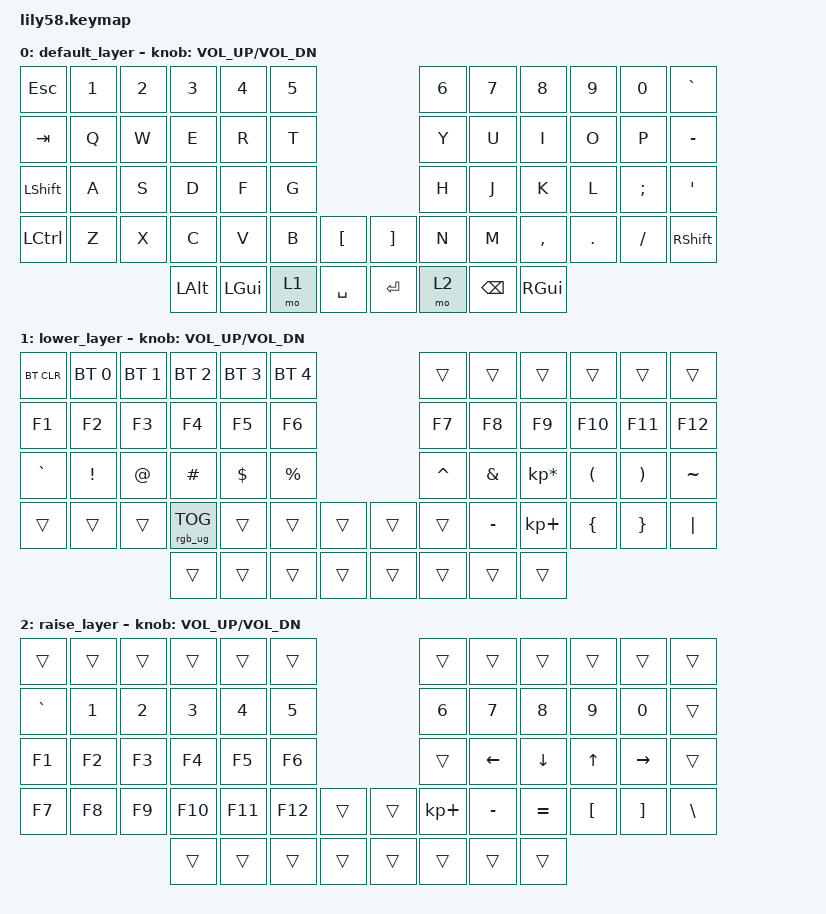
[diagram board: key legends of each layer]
/*
 * Copyright (c) 2020 The ZMK Contributors
 *
 * SPDX-License-Identifier: MIT
 */

#include <behaviors.dtsi>
#include <dt-bindings/zmk/keys.h>
#include <dt-bindings/zmk/bt.h>
#include <dt-bindings/zmk/ext_power.h>
#include <dt-bindings/zmk/rgb.h>

#include <dt-bindings/led/led.h>

#define SPI_FREQ    4000000
#define ZERO_FRAME  0x40
#define ONE_FRAME   0x70
#define STRIP_LEN   35

&pinctrl {
	spi3_default: spi3_default {
		group1 {
			psels = <NRF_PSEL(SPIM_MOSI, 0, 6)>;
		};
	};

	spi3_sleep: spi3_sleep {
		group1 {
			psels = <NRF_PSEL(SPIM_MOSI, 0, 6)>;
			low-power-enable;
		};
	};
};

&spi3 {
	compatible = "nordic,nrf-spim";
	status = "okay";

	pinctrl-0 = <&spi3_default>;
	pinctrl-1 = <&spi3_sleep>;
	pinctrl-names = "default", "sleep";

	led_strip: ws2812@0 {
		compatible = "worldsemi,ws2812-spi";
		label = "WS2812";

		/* SPI */
		reg = <0>; /* ignored, but necessary for SPI bindings */
		spi-max-frequency = <SPI_FREQ>;

		/* WS2812 */
		chain-length = <STRIP_LEN>;/* arbitrary; change at will */
		spi-one-frame = <ONE_FRAME>;
		spi-zero-frame = <ZERO_FRAME>;

		color-mapping = <LED_COLOR_ID_GREEN LED_COLOR_ID_RED LED_COLOR_ID_BLUE>;
	};
};

/ {
	chosen {
		zmk,underglow = &led_strip;
	};
};

&nice_view_spi {
    cs-gpios = <&pro_micro 0 GPIO_ACTIVE_HIGH>;
};

/ {
    keymap {
        compatible = "zmk,keymap";

        default_layer {
// ------------------------------------------------------------------------------------------------------------
// |  ESC  |  1  |  2  |  3   |  4   |  5   |                   |  6   |  7    |  8    |  9   |   0   |   `   |
// |  TAB  |  Q  |  W  |  E   |  R   |  T   |                   |  Y   |  U    |  I    |  O   |   P   |   -   |
// |  CTRL |  A  |  S  |  D   |  F   |  G   |                   |  H   |  J    |  K    |  L   |   ;   |   '   |
// | SHIFT |  Z  |  X  |  C   |  V   |  B   |   "["  |  |  "]"  |  N   |  M    |  ,    |  .   |   /   | SHIFT |
//                     | ALT  | GUI  | LOWER|  SPACE |  | ENTER | RAISE| BSPC  | GUI   |
            bindings = <
&kp ESC   &kp N1 &kp N2 &kp N3   &kp N4   &kp N5                     &kp N6 &kp N7   &kp N8    &kp N9  &kp N0   &kp GRAVE
&kp TAB   &kp Q  &kp W  &kp E    &kp R    &kp T                      &kp Y  &kp U    &kp I     &kp O   &kp P    &kp MINUS
&kp LSHFT &kp A  &kp S  &kp D    &kp F    &kp G                      &kp H  &kp J    &kp K     &kp L   &kp SEMI &kp SQT
&kp LCTRL &kp Z  &kp X  &kp C    &kp V    &kp B  &kp LBKT   &kp RBKT &kp N  &kp M    &kp COMMA &kp DOT &kp FSLH &kp RSHFT
                        &kp LALT &kp LGUI &mo 1  &kp SPACE  &kp RET  &mo 2  &kp BSPC &kp RGUI
            >;

            sensor-bindings = <&inc_dec_kp C_VOL_UP C_VOL_DN>;
        };

        lower_layer {
// ------------------------------------------------------------------------------------------------------------
// | BTCLR | BT1 | BT2 |  BT3 |  BT4 |  BT5 |                   |      |       |       |      |       |       |
// |  F1   |  F2 |  F3 |  F4  |  F5  |  F6  |                   |  F7  |  F8   |  F9   |  F10 |  F11  |  F12  |
// |   `   |  !  |  @  |  #   |  $   |  %   |                   |  ^   |  &    |  *    |  (   |   )   |   ~   |
// |       |     |     |      |      |      |        |  |       |      |  _    |  +    |  {   |   }   |  "|"  |
//                     |      |      |      |        |  |       |      |       |       |
            bindings = <
&bt BT_CLR &bt BT_SEL 0     &bt BT_SEL 1      &bt BT_SEL 2      &bt BT_SEL 3 &bt BT_SEL 4                 &trans    &trans    &trans          &trans    &trans    &trans
&kp F1     &kp F2           &kp F3            &kp F4            &kp F5       &kp F6                       &kp F7    &kp F8    &kp F9          &kp F10   &kp F11   &kp F12
&kp GRAVE  &kp EXCL         &kp AT            &kp HASH          &kp DOLLAR   &kp PRCNT                    &kp CARET &kp AMPS  &kp KP_MULTIPLY &kp LPAR  &kp RPAR  &kp TILDE
&trans     &trans           &trans            &rgb_ug RGB_TOG   &trans       &trans    &trans   &trans    &trans    &kp MINUS &kp KP_PLUS     &kp LBRC  &kp RBRC  &kp PIPE
                                              &trans            &trans       &trans    &trans   &trans    &trans    &trans    &trans
            >;

            sensor-bindings = <&inc_dec_kp C_VOL_UP C_VOL_DN>;
        };

        raise_layer {
// ------------------------------------------------------------------------------------------------------------
// |       |     |     |      |      |      |                   |      |       |       |      |       |       |
// |   `   |  1  |  2  |  3   |  4   |  5   |                   |  6   |   7   |   8   |  9   |   0   |       |
// |   F1  |  F2 |  F3 |  F4  |  F5  |  F6  |                   |      |   <-  |   v   |  ^   |  ->   |       |
// |   F7  |  F8 |  F9 |  F10 |  F11 |  F12 |        |  |       |  +   |   -   |   =   |  [   |   ]   |   \   |
//                     |      |      |      |        |  |       |      |       |       |
            bindings = <
&trans    &trans &trans &trans  &trans  &trans                       &trans      &trans    &trans    &trans   &trans    &trans
&kp GRAVE &kp N1 &kp N2 &kp N3  &kp N4  &kp N5                       &kp N6      &kp N7    &kp N8    &kp N9   &kp N0    &trans
&kp F1    &kp F2 &kp F3 &kp F4  &kp F5  &kp F6                       &trans      &kp LEFT  &kp DOWN  &kp UP   &kp RIGHT &trans
&kp F7    &kp F8 &kp F9 &kp F10 &kp F11 &kp F12   &trans   &trans    &kp KP_PLUS &kp MINUS &kp EQUAL &kp LBKT &kp RBKT  &kp BSLH
                        &trans  &trans  &trans    &trans   &trans    &trans      &trans    &trans
            >;

            sensor-bindings = <&inc_dec_kp C_VOL_UP C_VOL_DN>;
        };
    };
};
